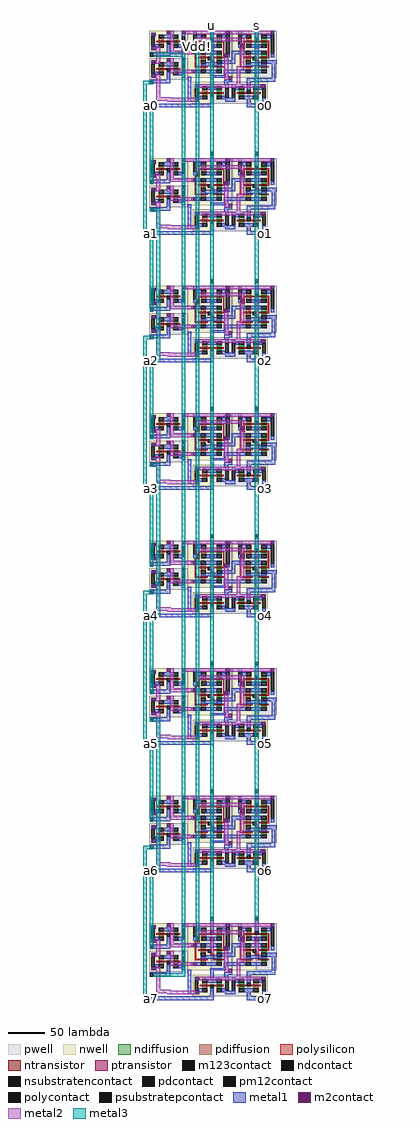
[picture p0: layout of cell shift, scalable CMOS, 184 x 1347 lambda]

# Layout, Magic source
magic
tech scmos
<< metal2 >>
rect 28 -383 33 -378
rect 28 -559 33 -554
rect 28 -735 33 -730
rect 28 -911 33 -906
rect 28 -1087 33 -1082
rect 28 -1263 33 -1258
rect 28 -1439 33 -1434
rect 28 -1615 33 -1610
<< metal3 >>
rect -124 -313 -80 -308
rect -138 -351 -124 -346
rect -138 -554 -133 -351
rect -129 -489 -124 -378
rect -129 -527 -115 -522
rect -138 -559 -124 -554
rect -129 -665 -124 -559
rect -138 -703 -124 -698
rect -138 -906 -133 -703
rect -120 -730 -115 -527
rect -129 -735 -115 -730
rect -129 -841 -124 -735
rect -129 -879 -115 -874
rect -138 -911 -124 -906
rect -129 -1017 -124 -911
rect -138 -1055 -124 -1050
rect -138 -1258 -133 -1055
rect -120 -1082 -115 -879
rect -129 -1087 -115 -1082
rect -129 -1193 -124 -1087
rect -129 -1231 -115 -1226
rect -138 -1263 -124 -1258
rect -129 -1369 -124 -1263
rect -138 -1407 -124 -1402
rect -138 -1610 -133 -1407
rect -120 -1434 -115 -1231
rect -129 -1439 -115 -1434
rect -129 -1545 -124 -1439
rect -85 -1578 -80 -313
rect -66 -1533 -61 -296
rect -46 -1505 -41 -268
rect 16 -1505 21 -268
rect -124 -1583 -80 -1578
rect -138 -1615 -124 -1610
use shift_one  shift_one_6
transform 1 0 -17 0 1 -1366
box -113 -73 63 42
use shift_one  shift_one_0
transform 1 0 -17 0 1 -310
box -113 -73 63 42
use shift_one  shift_one_1
transform 1 0 -17 0 1 -486
box -113 -73 63 42
use shift_one  shift_one_2
transform 1 0 -17 0 1 -662
box -113 -73 63 42
use shift_one  shift_one_3
transform 1 0 -17 0 1 -838
box -113 -73 63 42
use shift_one  shift_one_4
transform 1 0 -17 0 1 -1014
box -113 -73 63 42
use shift_one  shift_one_5
transform 1 0 -17 0 1 -1190
box -113 -73 63 42
use shift_one  shift_one_7
transform 1 0 -17 0 1 -1542
box -113 -73 63 42
<< labels >>
rlabel metal3 -66 -301 -61 -296 1 Vdd!
rlabel metal3 -85 -313 -80 -308 1 GND!
rlabel metal2 28 -1615 33 -1610 1 o7
rlabel metal2 28 -1439 33 -1434 1 o6
rlabel metal2 28 -1263 33 -1258 1 o5
rlabel metal2 28 -1087 33 -1082 1 o4
rlabel metal2 28 -911 33 -906 1 o3
rlabel metal2 28 -735 33 -730 1 o2
rlabel metal2 28 -559 33 -554 1 o1
rlabel metal2 28 -383 33 -378 1 o0
rlabel metal3 -46 -273 -41 -268 5 u
rlabel metal3 16 -273 21 -268 5 s
rlabel metal3 -129 -383 -124 -378 1 a0
rlabel metal3 -129 -559 -124 -554 1 a1
rlabel metal3 -129 -735 -124 -730 1 a2
rlabel metal3 -129 -911 -124 -906 1 a3
rlabel metal3 -129 -1087 -124 -1082 1 a4
rlabel metal3 -129 -1263 -124 -1258 1 a5
rlabel metal3 -129 -1439 -124 -1434 1 a6
rlabel metal3 -129 -1615 -124 -1610 1 a7
<< properties >>
string name shift_one_0
<< end >>

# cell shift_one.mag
magic
tech scmos
<< pwell >>
rect -12 28 -7 33
rect 49 28 57 33
<< metal1 >>
rect -29 33 -24 37
rect 33 33 38 37
rect -112 2 -84 3
rect -107 -2 -84 2
rect -68 -5 -63 7
rect 1 0 7 5
rect 1 -13 6 0
rect -10 -26 7 -21
rect -10 -29 -7 -26
rect -112 -36 -84 -35
rect -107 -40 -84 -36
rect -60 -65 -55 -31
rect -29 -32 -7 -29
rect -29 -39 -24 -32
rect 56 -33 61 -11
rect -9 -38 2 -35
rect 22 -38 61 -33
rect -9 -41 -4 -38
rect -5 -65 4 -60
rect -107 -73 -24 -68
rect 22 -73 45 -68
<< m2contact >>
rect -109 25 -104 30
rect -89 28 -84 33
rect -68 28 -63 33
rect -7 28 -2 33
rect 55 28 60 33
rect -109 6 -104 11
rect 13 9 18 14
rect -52 0 -47 5
rect -9 -4 -4 1
rect -109 -13 -104 -8
rect -89 -10 -84 -5
rect -52 -26 -47 -21
rect -109 -32 -104 -27
rect -3 -35 2 -30
rect -49 -46 -44 -41
rect 42 -46 47 -41
rect -49 -65 -44 -60
rect 45 -73 50 -68
<< metal2 >>
rect -104 6 -98 11
rect -103 -8 -98 6
rect -84 5 -79 33
rect -63 28 -7 33
rect -2 28 55 33
rect -49 18 18 23
rect -49 14 -44 18
rect 13 14 18 18
rect -84 0 -52 5
rect -104 -13 -98 -8
rect -84 -21 -79 -5
rect -84 -26 -52 -21
rect -104 -32 -98 -27
rect -103 -59 -98 -32
rect -9 -30 -4 -4
rect 13 -16 18 9
rect 8 -21 18 -16
rect -9 -35 -3 -30
rect 8 -41 13 -21
rect -44 -46 42 -41
rect -103 -60 -83 -59
rect -103 -64 -49 -60
rect -88 -65 -49 -64
<< m123contact >>
rect -29 37 -24 42
rect 33 37 38 42
rect -112 -3 -107 2
rect -49 9 -44 14
rect -68 -10 -63 -5
rect -112 -41 -107 -36
rect -112 -73 -107 -68
use inv  inv_3
transform 0 1 11 -1 0 -48
box -10 -13 20 40
use inv  inv_2
transform 0 -1 -13 1 0 -58
box -10 -13 20 40
use inv  inv_0
transform 0 -1 -73 1 0 13
box -10 -13 20 40
use inv  inv_1
transform 0 -1 -73 1 0 -25
box -10 -13 20 40
use 2mux_nr  2mux_nr_0
transform 1 0 -28 0 1 6
box -32 -38 29 27
use 2mux_nr  2mux_nr_1
transform 1 0 34 0 1 6
box -32 -38 29 27
<< labels >>
rlabel metal2 -45 30 -45 30 1 GND!
rlabel m2contact 50 -73 50 -68 8 o
rlabel metal1 -29 37 -24 37 5 u
rlabel metal1 -112 -2 -112 3 3 au
rlabel metal1 -112 -41 -112 -35 3 ad
rlabel metal2 -85 -63 -85 -63 1 Vdd!
rlabel metal1 -112 -73 -112 -68 2 a
rlabel metal1 33 37 38 37 5 s
<< end >>

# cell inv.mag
magic
tech scmos
<< nwell >>
rect -10 14 20 40
<< pwell >>
rect -10 -13 20 13
<< ntransistor >>
rect 4 0 6 7
<< ptransistor >>
rect 4 20 6 27
<< ndiffusion >>
rect 1 0 4 7
rect 6 0 9 7
<< pdiffusion >>
rect 1 20 4 27
rect 6 20 9 27
<< ndcontact >>
rect -4 0 1 7
rect 9 0 14 7
<< pdcontact >>
rect -4 20 1 27
rect 9 20 14 27
<< psubstratepcontact >>
rect -2 -10 12 -5
<< nsubstratencontact >>
rect -2 32 12 37
<< polysilicon >>
rect 4 27 6 30
rect 4 16 6 20
rect 4 7 6 11
rect 4 -3 6 0
<< polycontact >>
rect 1 11 6 16
<< metal1 >>
rect -7 32 -2 37
rect 12 32 17 37
rect -4 27 1 32
rect 9 16 14 20
rect -10 11 1 16
rect 9 11 20 16
rect 9 7 14 11
rect -4 -5 1 0
rect -7 -10 -2 -5
rect 12 -10 17 -5
<< labels >>
rlabel metal1 -10 11 -10 16 3 in
rlabel metal1 20 11 20 16 7 out
rlabel metal1 -5 34 -5 34 3 Vdd!
rlabel metal1 -5 -7 -5 -7 3 GND!
<< end >>

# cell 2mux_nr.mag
magic
tech scmos
<< nwell >>
rect -32 -38 1 27
<< pwell >>
rect 1 -38 29 27
<< ntransistor >>
rect 8 11 15 13
rect 8 -11 15 -9
rect 8 -24 15 -22
<< ptransistor >>
rect -13 11 -6 13
rect -14 -11 -7 -9
rect -14 -24 -7 -22
<< ndiffusion >>
rect 8 13 15 16
rect 8 8 15 11
rect 8 -9 15 -6
rect 8 -14 15 -11
rect 8 -22 15 -19
rect 8 -27 15 -24
<< pdiffusion >>
rect -13 13 -6 16
rect -13 8 -6 11
rect -14 -9 -7 -6
rect -14 -14 -7 -11
rect -14 -22 -7 -19
rect -14 -27 -7 -24
<< ndcontact >>
rect 8 16 15 21
rect 8 3 15 8
rect 8 -6 15 -1
rect 8 -19 15 -14
rect 8 -32 15 -27
<< pdcontact >>
rect -13 16 -6 21
rect -13 3 -6 8
rect -14 -6 -7 -1
rect -14 -19 -7 -14
rect -14 -32 -7 -27
<< psubstratepcontact >>
rect 21 -5 26 22
<< nsubstratencontact >>
rect -24 8 -19 22
<< polysilicon >>
rect -17 11 -13 13
rect -6 11 -1 13
rect 4 11 8 13
rect 15 11 19 13
rect -17 3 -15 11
rect -22 1 -15 3
rect -22 -22 -20 1
rect 17 -9 19 11
rect -17 -11 -14 -9
rect -7 -11 -4 -9
rect 5 -11 8 -9
rect 15 -11 19 -9
rect -1 -15 1 -14
rect -1 -17 5 -15
rect 3 -22 5 -17
rect -22 -24 -14 -22
rect -7 -24 -4 -22
rect 3 -24 8 -22
rect 15 -24 18 -22
<< polycontact >>
rect -1 11 4 16
<< metal1 >>
rect -24 22 -19 27
rect -19 16 -13 21
rect -1 16 4 27
rect 21 22 26 27
rect 15 16 21 21
rect -24 3 -19 8
rect -6 3 -1 8
rect 4 3 8 8
rect -27 -6 -14 -1
rect -7 -6 8 -1
rect 21 -10 26 -5
rect -7 -19 8 -17
rect 15 -19 29 -14
rect -14 -22 15 -19
rect -27 -32 -14 -27
rect -7 -32 8 -27
<< m2contact >>
rect -1 3 4 8
<< pm12contact >>
rect -4 -14 1 -9
<< metal2 >>
rect -1 -9 4 3
rect 1 -14 4 -9
<< labels >>
rlabel metal1 -1 27 4 27 5 s
rlabel metal1 21 27 26 27 5 GND!
rlabel metal1 29 -19 29 -14 7 out
rlabel metal1 -24 27 -19 27 5 Vdd!
rlabel metal1 -27 -6 -27 -1 3 in1
rlabel metal1 -27 -32 -27 -27 3 in0
<< end >>
